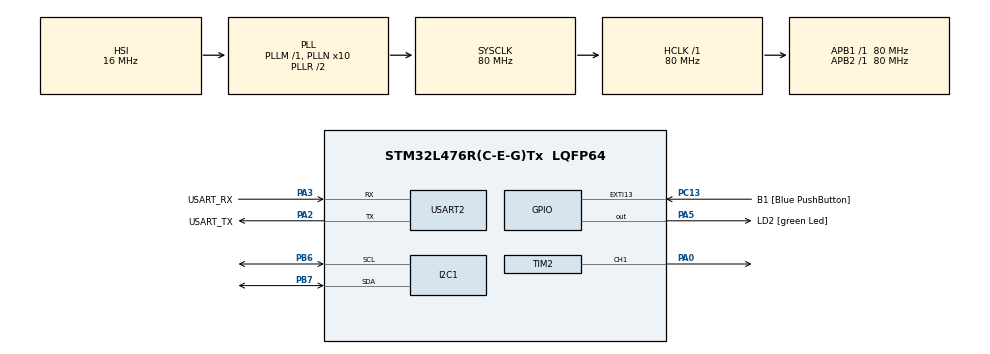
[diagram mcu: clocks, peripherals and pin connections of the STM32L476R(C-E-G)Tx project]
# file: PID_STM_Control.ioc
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I2C1.Timing=0x10D19CE4
Mcu.Family=STM32L4
Mcu.Name=STM32L476R(C-E-G)Tx
Mcu.Package=LQFP64
NVIC.PriorityGroup=NVIC_PRIORITYGROUP_4
PA0.Signal=S_TIM2_CH1
PA13\ (JTMS-SWDIO).GPIO_Label=TMS
PA13\ (JTMS-SWDIO).Mode=Serial_Wire
PA13\ (JTMS-SWDIO).Signal=SYS_JTMS-SWDIO
PA14\ (JTCK-SWCLK).GPIO_Label=TCK
PA14\ (JTCK-SWCLK).Mode=Serial_Wire
PA14\ (JTCK-SWCLK).Signal=SYS_JTCK-SWCLK
PA2.GPIO_Label=USART_TX
PA2.GPIO_Mode=GPIO_MODE_AF_PP
PA2.GPIO_PuPd=GPIO_NOPULL
PA2.GPIO_Speed=GPIO_SPEED_FREQ_VERY_HIGH
PA2.Mode=Asynchronous
PA2.Signal=USART2_TX
PA3.GPIO_Label=USART_RX
PA3.GPIO_Mode=GPIO_MODE_AF_PP
PA3.GPIO_PuPd=GPIO_NOPULL
PA3.GPIO_Speed=GPIO_SPEED_FREQ_VERY_HIGH
PA3.Mode=Asynchronous
PA3.Signal=USART2_RX
PA5.GPIO_Label=LD2 [green Led]
PA5.GPIO_ModeDefaultOutputPP=GPIO_MODE_OUTPUT_PP
PA5.GPIO_PuPd=GPIO_NOPULL
PA5.GPIO_Speed=GPIO_SPEED_FREQ_LOW
PA5.Signal=GPIO_Output
PB3\ (JTDO-TRACESWO).GPIO_Label=SWO
PB3\ (JTDO-TRACESWO).Signal=SYS_JTDO-SWO
PB6.Mode=I2C
PB6.Signal=I2C1_SCL
PB7.Mode=I2C
PB7.Signal=I2C1_SDA
PC13.GPIO_Label=B1 [Blue PushButton]
PC13.GPIO_ModeDefaultEXTI=GPIO_MODE_IT_FALLING
PC13.GPIO_PuPd=GPIO_NOPULL
PC13.Signal=GPXTI13
PC14-OSC32_IN\ (PC14).Mode=LSE-External-Oscillator
PC14-OSC32_IN\ (PC14).Signal=RCC_OSC32_IN
PC15-OSC32_OUT\ (PC15).Mode=LSE-External-Oscillator
PC15-OSC32_OUT\ (PC15).Signal=RCC_OSC32_OUT
PH0-OSC_IN\ (PH0).Signal=RCC_OSC_IN
PH1-OSC_OUT\ (PH1).Signal=RCC_OSC_OUT
ProjectManager.HeapSize=0x200
ProjectManager.StackSize=0x400
ProjectManager.TargetToolchain=CMake
RCC.ADCFreq_Value=64000000
RCC.AHBFreq_Value=80000000
RCC.APB1Freq_Value=80000000
RCC.APB1TimFreq_Value=80000000
RCC.APB2Freq_Value=80000000
RCC.APB2TimFreq_Value=80000000
RCC.CortexFreq_Value=80000000
RCC.HCLKFreq_Value=80000000
RCC.HSE_VALUE=8000000
RCC.HSI_VALUE=16000000
RCC.MSI_VALUE=4000000
RCC.PLLN=10
RCC.PLLSourceVirtual=RCC_PLLSOURCE_HSI
RCC.PREFETCH_ENABLE=1
RCC.SYSCLKFreq_VALUE=80000000
RCC.SYSCLKSource=RCC_SYSCLKSOURCE_PLLCLK
RCC.USBFreq_Value=64000000
RCC.VCOOutputFreq_Value=160000000
SH.S_TIM2_CH1.0=TIM2_CH1,PWM Generation1 CH1
TIM2.Channel-PWM\ Generation1\ CH1=TIM_CHANNEL_1
USART2.VirtualMode-Asynchronous=VM_ASYNC
VP_CRC_VS_CRC.Mode=CRC_Activate
VP_TIM2_VS_ClockSourceINT.Mode=Internal
board=NUCLEO-L476RG

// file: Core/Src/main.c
/* USER CODE BEGIN Header */
/**
  ******************************************************************************
  * @file           : main.c
  * @brief          : Main program body
  ******************************************************************************
  * @attention
  *
  * Copyright (c) 2026 STMicroelectronics.
  * All rights reserved.
  *
  * This software is licensed under terms that can be found in the LICENSE file
  * in the root directory of this software component.
  * If no LICENSE file comes with this software, it is provided AS-IS.
  *
  ******************************************************************************
  */
/* USER CODE END Header */
#include "main.h"
#include "crc.h"
#include "i2c.h"
#include "stm32l4xx_hal.h"
#include "stm32l4xx_hal_def.h"
#include "stm32l4xx_hal_i2c.h"
#include "stm32l4xx_hal_tim.h"
#include "stm32l4xx_hal_uart.h"
#include "tim.h"
#include "usart.h"
#include "gpio.h"

/* USER CODE BEGIN Includes */
#include "vl53l0x.h"
#include <stdint.h>
#include <stdio.h>
#include "pid_controller.h"
/* USER CODE END Includes */

/* USER CODE BEGIN PD */
#define FILTER_SIZE 3
#define TUBE_LENGTH_MM 500.0f
/* USER CODE END PD */

/* USER CODE BEGIN PV */

uint16_t readings[FILTER_SIZE];
uint8_t read_index = 0;

PID_TypeDef hpid;

uint32_t current_dist_glob; // Global variable for the monitor
float setpoint_glob;

/* USER CODE END PV */

void SystemClock_Config(void);
int _write(int file, char *ptr, int len);
/* USER CODE BEGIN PFP */

// Sensor noise elimination filter - unused
uint16_t smooth_filter(uint16_t new_val) {
    readings[read_index] = new_val;
    read_index = (read_index + 1) % FILTER_SIZE;

    uint32_t sum = 0;
    for(int i = 0; i < FILTER_SIZE; i++) sum += readings[i];
    return (uint16_t)(sum / FILTER_SIZE);
}

/* USER CODE END PFP */

int main(void)
{

  /* MCU Configuration--------------------------------------------------------*/

  /* Reset of all peripherals, Initializes the Flash interface and the Systick. */
  HAL_Init();

  /* Configure the system clock */
  SystemClock_Config();

  /* Initialize all configured peripherals */
  MX_GPIO_Init();
  MX_CRC_Init();
  MX_I2C1_Init();
  MX_TIM2_Init();
  MX_USART2_UART_Init();
/* USER CODE BEGIN 2 */

  // 1. Initialization with safety check
  if (VL53L0X_Init(&hi2c1) != HAL_OK) {
    Error_Handler();
  }

  // Continuous measurement mode
  VL53L0X_StartContinous(&hi2c1);

  // For Kp = 0.8: initial oscillations from -50 to +80, dampening down to -20 to +20
  PID_Init(&hpid, 0.8f, 0.007f, 0.05f, -100.0f, 200.0f);
  PID_SetSetpoint(&hpid, 190.0f);
  HAL_TIM_PWM_Start(&htim2, TIM_CHANNEL_1);

  // 2050.5 - Minimum value required to lift a loaded ball
  // 1265.0 - Minimum value required to lift an unloaded ball

  uint32_t last_time = HAL_GetTick();
  uint32_t last_i2c_poll = HAL_GetTick(); // Throttle variable for I2C polling

// Dynamic PWM feedforward (Tube non-linearity compensation)
float Get_Dynamic_Feedforward(float setpoint) {
    float SP_low  = 240.0f;  float PWM_low  = 1290.0f;  // Bottom of the tube
    float SP_high =  60.0f;  float PWM_high = 1305.0f;  // Top of the tube

    if (setpoint >= SP_low) return PWM_low;
    if (setpoint <= SP_high) return PWM_high;

    // Linear interpolation
    float t = (setpoint - SP_low) / (SP_high - SP_low);
    return PWM_low + t * (PWM_high - PWM_low);
}
  /* USER CODE END 2 */

  /* Infinite loop */
  /* USER CODE BEGIN WHILE */
  while (1)
  {
    // I2C Error recovery handler
    if (HAL_I2C_GetError(&hi2c1) != HAL_I2C_ERROR_NONE) {
        HAL_I2C_DeInit(&hi2c1);
        HAL_I2C_Init(&hi2c1);
        HAL_Delay(10);
    }

    // 5ms Polling rate throttle
    if (HAL_GetTick() - last_i2c_poll >= 5) {
        last_i2c_poll = HAL_GetTick();

        uint16_t raw_dist = VL53L0X_ReadContinuousFast(&hi2c1);

        // Hardware dead-zone safety override
        if (raw_dist > 0 && raw_dist <= 45) {
            __HAL_TIM_SET_COMPARE(&htim2, TIM_CHANNEL_1, 1000); // Hard cutoff of the airflow
            continue;
        }

        // Valid measurement range
        if (raw_dist > 45 && raw_dist < 600) {

            uint32_t now = HAL_GetTick();
            float dt = (float)(now - last_time) / 1300.0f;
            last_time = now;
            if (dt <= 0.001f) dt = 0.001f;

            PID_SetDt(&hpid, dt);

            float dynamic_base = Get_Dynamic_Feedforward(hpid.setpoint);

            float pid_correction = PID_Compute(&hpid, (float)raw_dist);

            float final_pwm = dynamic_base + pid_correction;

            // Hardware output saturation limits
            if (final_pwm > 1600.0f) final_pwm = 1600.0f;
            if (final_pwm < 1000.0f) final_pwm = 1000.0f;

            // Direct actuator update (no slew rate filtering)
            __HAL_TIM_SET_COMPARE(&htim2, TIM_CHANNEL_1, (uint32_t)final_pwm);

            printf("SP:%d, Dist:%d, Corr:%d, PWM:%d, dt:%d ms\r\n",
                  (int)hpid.setpoint, (int)raw_dist, (int)pid_correction, (int)final_pwm, (int)(dt * 1000.0f));
        }
    }
  }

  /* USER CODE END WHILE */
  }

void SystemClock_Config(void)
{
  RCC_OscInitTypeDef RCC_OscInitStruct = {0};
  RCC_ClkInitTypeDef RCC_ClkInitStruct = {0};

  /** Configure the main internal regulator output voltage
  */
  if (HAL_PWREx_ControlVoltageScaling(PWR_REGULATOR_VOLTAGE_SCALE1) != HAL_OK)
  {
    Error_Handler();
  }

  /** Initializes the RCC Oscillators according to the specified parameters
  * in the RCC_OscInitTypeDef structure.
  */
  RCC_OscInitStruct.OscillatorType = RCC_OSCILLATORTYPE_HSI;
  RCC_OscInitStruct.HSIState = RCC_HSI_ON;
  RCC_OscInitStruct.HSICalibrationValue = RCC_HSICALIBRATION_DEFAULT;
  RCC_OscInitStruct.PLL.PLLState = RCC_PLL_ON;
  RCC_OscInitStruct.PLL.PLLSource = RCC_PLLSOURCE_HSI;
  RCC_OscInitStruct.PLL.PLLM = 1;
  RCC_OscInitStruct.PLL.PLLN = 10;
  RCC_OscInitStruct.PLL.PLLP = RCC_PLLP_DIV7;
  RCC_OscInitStruct.PLL.PLLQ = RCC_PLLQ_DIV2;
  RCC_OscInitStruct.PLL.PLLR = RCC_PLLR_DIV2;
  if (HAL_RCC_OscConfig(&RCC_OscInitStruct) != HAL_OK)
  {
    Error_Handler();
  }

  /** Initializes the CPU, AHB and APB buses clocks
  */
  RCC_ClkInitStruct.ClockType = RCC_CLOCKTYPE_HCLK|RCC_CLOCKTYPE_SYSCLK
                              |RCC_CLOCKTYPE_PCLK1|RCC_CLOCKTYPE_PCLK2;
  RCC_ClkInitStruct.SYSCLKSource = RCC_SYSCLKSOURCE_PLLCLK;
  RCC_ClkInitStruct.AHBCLKDivider = RCC_SYSCLK_DIV1;
  RCC_ClkInitStruct.APB1CLKDivider = RCC_HCLK_DIV1;
  RCC_ClkInitStruct.APB2CLKDivider = RCC_HCLK_DIV1;

  if (HAL_RCC_ClockConfig(&RCC_ClkInitStruct, FLASH_LATENCY_4) != HAL_OK)
  {
    Error_Handler();
  }
}

/* USER CODE BEGIN 4 */

int _write(int file, char *ptr, int len) {
    HAL_UART_Transmit(&huart2, (uint8_t*)ptr, len, HAL_MAX_DELAY);
    return len;
}

/* USER CODE END 4 */

void Error_Handler(void)
{
  __disable_irq();
  while (1)
  {
  }
}
